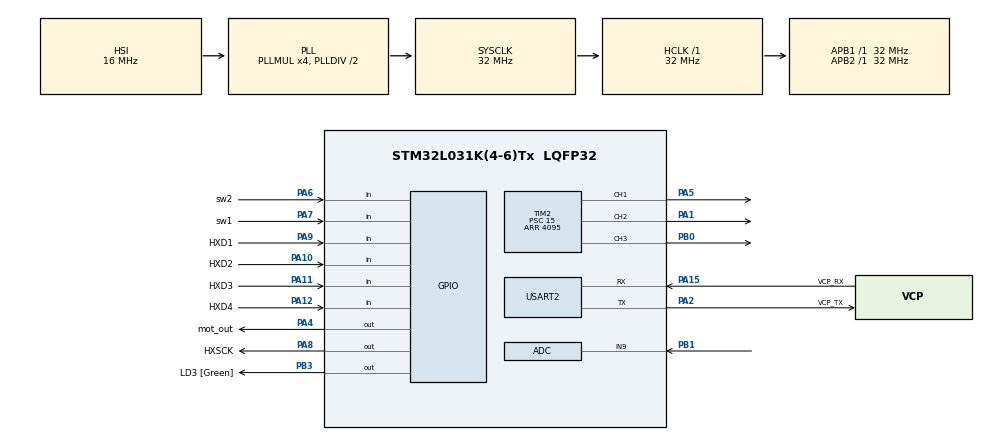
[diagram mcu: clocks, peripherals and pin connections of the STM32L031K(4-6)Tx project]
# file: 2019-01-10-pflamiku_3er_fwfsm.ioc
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ADC.ClockPrescaler=ADC_CLOCK_SYNC_PCLK_DIV2
ADC.ContinuousConvMode=DISABLE
ADC.DMAContinuousRequests=DISABLE
ADC.DataAlign=ADC_DATAALIGN_RIGHT
ADC.DiscontinuousConvMode=DISABLE
ADC.EOCSelection=ADC_EOC_SINGLE_CONV
ADC.EnableAnalogWatchDog=false
ADC.ExternalTrigConv=ADC_SOFTWARE_START
ADC.ExternalTrigConvEdge=ADC_EXTERNALTRIGCONVEDGE_NONE
ADC.LowPowerAutoPowerOff=DISABLE
ADC.LowPowerAutoWait=DISABLE
ADC.LowPowerFrequencyMode=DISABLE
ADC.Overrun=ADC_OVR_DATA_PRESERVED
ADC.OversamplingMode=DISABLE
ADC.Resolution=ADC_RESOLUTION_12B
ADC.SamplingTime=ADC_SAMPLETIME_1CYCLE_5
ADC.ScanConvMode=ADC_SCAN_DIRECTION_FORWARD
Dma.ADC.0.Direction=DMA_PERIPH_TO_MEMORY
Dma.ADC.0.Instance=DMA1_Channel1
Dma.ADC.0.MemDataAlignment=DMA_MDATAALIGN_WORD
Dma.ADC.0.MemInc=DMA_MINC_ENABLE
Dma.ADC.0.Mode=DMA_CIRCULAR
Dma.ADC.0.PeriphDataAlignment=DMA_PDATAALIGN_WORD
Dma.ADC.0.PeriphInc=DMA_PINC_DISABLE
Dma.ADC.0.Priority=DMA_PRIORITY_LOW
Dma.Request0=ADC
IWDG.Prescaler=IWDG_PRESCALER_256
IWDG.Window=4095
LPTIM1.ClockPrescaler=LPTIM_PRESCALER_DIV128
Mcu.Family=STM32L0
Mcu.Name=STM32L031K(4-6)Tx
Mcu.Package=LQFP32
NVIC.DMA1_Channel1_IRQn=true\:0\:0\:false\:false\:true\:false
NVIC.LPTIM1_IRQn=true\:1\:0\:true\:false\:true\:true
NVIC.TIM21_IRQn=true\:0\:0\:false\:false\:true\:true
PA1.Signal=S_TIM2_CH2
PA10.GPIO_Label=HXD2
PA10.Signal=GPIO_Input
PA11.GPIO_Label=HXD3
PA11.Signal=GPIO_Input
PA12.GPIO_Label=HXD4
PA12.Signal=GPIO_Input
PA13.GPIO_Label=TMS
PA13.Mode=Serial_Wire
PA13.Signal=SYS_SWDIO
PA14.GPIO_Label=TCK
PA14.Mode=Serial_Wire
PA14.Signal=SYS_SWCLK
PA15.GPIO_Label=VCP_RX
PA15.Mode=Asynchronous
PA15.Signal=USART2_RX
PA2.GPIO_Label=VCP_TX
PA2.Mode=Asynchronous
PA2.Signal=USART2_TX
PA4.GPIO_Label=mot_out
PA4.GPIO_Speed=GPIO_SPEED_FREQ_MEDIUM
PA4.Signal=GPIO_Output
PA5.Signal=S_TIM2_CH1
PA6.GPIO_Label=sw2
PA6.Signal=GPIO_Input
PA7.GPIO_Label=sw1
PA7.Signal=GPIO_Input
PA8.GPIO_Label=HXSCK
PA8.GPIO_Speed=GPIO_SPEED_FREQ_MEDIUM
PA8.Signal=GPIO_Output
PA9.GPIO_Label=HXD1
PA9.Signal=GPIO_Input
PB0.Signal=S_TIM2_CH3
PB1.Mode=IN9
PB1.Signal=ADC_IN9
PB3.GPIO_Label=LD3 [Green]
PB3.Signal=GPIO_Output
ProjectManager.HeapSize=0x200
ProjectManager.StackSize=0x400
ProjectManager.TargetToolchain=SW4STM32
RCC.AHBFreq_Value=32000000
RCC.APB1Freq_Value=32000000
RCC.APB1TimFreq_Value=32000000
RCC.APB2Freq_Value=32000000
RCC.APB2TimFreq_Value=32000000
RCC.HCLKFreq_Value=32000000
RCC.HSE_VALUE=8000000
RCC.HSI16_VALUE=16000000
RCC.HSI48_VALUE=48000000
RCC.HSI_VALUE=16000000
RCC.I2c1ClockSelection=RCC_I2C1CLKSOURCE_HSI
RCC.LSE_VALUE=32768
RCC.LptimClockSelection=RCC_LPTIM1CLKSOURCE_LSI
RCC.MSI_VALUE=2097000
RCC.PLLMUL=RCC_PLLMUL_4
RCC.SYSCLKFreq_VALUE=32000000
RCC.SYSCLKSource=RCC_SYSCLKSOURCE_PLLCLK
RCC.VCOOutputFreq_Value=64000000
SH.S_TIM2_CH1.0=TIM2_CH1,PWM Generation1 CH1
SH.S_TIM2_CH2.0=TIM2_CH2,PWM Generation2 CH2
SH.S_TIM2_CH3.0=TIM2_CH3,PWM Generation3 CH3
TIM2.Channel-PWM\ Generation1\ CH1=TIM_CHANNEL_1
TIM2.Channel-PWM\ Generation2\ CH2=TIM_CHANNEL_2
TIM2.Channel-PWM\ Generation3\ CH3=TIM_CHANNEL_3
TIM2.CounterMode=TIM_COUNTERMODE_DOWN
TIM2.OCPolarity_1=TIM_OCPOLARITY_HIGH
TIM2.OCPolarity_2=TIM_OCPOLARITY_HIGH
TIM2.OCPolarity_3=TIM_OCPOLARITY_HIGH
TIM2.Period=4095
TIM2.Prescaler=15
TIM2.Pulse-PWM\ Generation1\ CH1=1
TIM2.Pulse-PWM\ Generation2\ CH2=2
TIM2.Pulse-PWM\ Generation3\ CH3=3
TIM21.Period=6
TIM21.Prescaler=32
USART2.VirtualMode-Asynchronous=VM_ASYNC
VP_IWDG_VS_IWDG.Mode=IWDG_Activate
VP_LPTIM1_VS_LPTIM_counterModeInternalClock.Mode=Counts__internal_clock_event_00
VP_RTC_VS_RTC_Activate.Mode=RTC_Enabled
VP_RTC_VS_RTC_Calendar.Mode=RTC_Calendar
VP_SYS_V_PVD_IN.Mode=Mode_PVD_Int
VP_TIM21_VS_ClockSourceINT.Mode=Internal
VP_TIM2_VS_ClockSourceINT.Mode=Internal
board=NUCLEO-L031K6

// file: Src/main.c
/* USER CODE BEGIN Header */
/**
 ******************************************************************************
 * @file           : main.c
 * @brief          : Main program body
 ******************************************************************************
 ** This notice applies to any and all portions of this file
 * that are not between comment pairs USER CODE BEGIN and
 * USER CODE END. Other portions of this file, whether
 * inserted by the user or by software development tools
 * are owned by their respective copyright owners.
 *
 * COPYRIGHT(c) 2019 STMicroelectronics
 *
 * Redistribution and use in source and binary forms, with or without modification,
 * are permitted provided that the following conditions are met:
 *   1. Redistributions of source code must retain the above copyright notice,
 *      this list of conditions and the following disclaimer.
 *   2. Redistributions in binary form must reproduce the above copyright notice,
 *      this list of conditions and the following disclaimer in the documentation
 *      and/or other materials provided with the distribution.
 *   3. Neither the name of STMicroelectronics nor the names of its contributors
 *      may be used to endorse or promote products derived from this software
 *      without specific prior written permission.
 *
 * THIS SOFTWARE IS PROVIDED BY THE COPYRIGHT HOLDERS AND CONTRIBUTORS "AS IS"
 * AND ANY EXPRESS OR IMPLIED WARRANTIES, INCLUDING, BUT NOT LIMITED TO, THE
 * IMPLIED WARRANTIES OF MERCHANTABILITY AND FITNESS FOR A PARTICULAR PURPOSE ARE
 * DISCLAIMED. IN NO EVENT SHALL THE COPYRIGHT HOLDER OR CONTRIBUTORS BE LIABLE
 * FOR ANY DIRECT, INDIRECT, INCIDENTAL, SPECIAL, EXEMPLARY, OR CONSEQUENTIAL
 * DAMAGES (INCLUDING, BUT NOT LIMITED TO, PROCUREMENT OF SUBSTITUTE GOODS OR
 * SERVICES; LOSS OF USE, DATA, OR PROFITS; OR BUSINESS INTERRUPTION) HOWEVER
 * CAUSED AND ON ANY THEORY OF LIABILITY, WHETHER IN CONTRACT, STRICT LIABILITY,
 * OR TORT (INCLUDING NEGLIGENCE OR OTHERWISE) ARISING IN ANY WAY OUT OF THE USE
 * OF THIS SOFTWARE, EVEN IF ADVISED OF THE POSSIBILITY OF SUCH DAMAGE.
 *
 ******************************************************************************
 */
/* USER CODE END Header */

#include "main.h"

/* USER CODE BEGIN Includes */
/**
 * AUTHORS: ACHIM MERATH
 * LICENSE: CC BY SA NC 4.0
 * Last change 2019-01-26
 *
 * Brief   This software is for measure 3 or 4 weight scales.
 * 			Depended on the min and max programmed weight of the plants
 * 			it starts a pump which is pumping water to the plant until it's
 * 			max weight value is reached.
 * 			The min and max values can be programmed very easy by one switch.
 * 			Put a plant with dry plant soil on the device. Put the switch in prog position.
 * 			The pump automatically begins to pump water to your plant.
 * 			If the  potting soil is wet enough put the switch in position run.
 * 			From now on the device waters your plant automatically between these two
 * 			programmed min and max values. Each time the weight goes under the minimum
 * 			the pump runs until the maximum or a timeout is reached.
 * 			The timeout value is that time doubled, that the device needed
 * 			while you programmed it. This is thought as a security feature.
 * 			In example if the water storage tank is empty
 *          Another feature is that the device is going in deep sleep mode if
 *          there is not enough ambient light. Normally in the night.
 *          That switch value can be programmed as well.
 * 			Therefore you've to wait for the according twilight condition.
 * 			Disconnect the power plug, put the switch in PROG mode, connect
 * 			the power plug again. Wait until the red LED blinks. Then put the switch
 * 			in normal run mode.
 * 			That's it.
 * 			Now the device doesn't start until it is brighter then the twilight value.
 * 			Another automatic feature is the brightness of the lED. It is adjusted automatically
 * 			in respect to the ambient light.
 *
 */

/*********************DEBUGGING***************************/
//#define test
//#define test_LDR
//#define test_HX712	// water below min
//#define test_HX712_w0min // water below min
//#define test_HX712_w1min // water above min
//#define test_HX712_w2max // water above max
//#define test_eeprom_write_firstTimeValues
//#define test_pump

/********************INCLUDES****************************/
#include "stdint.h"
#include <stdio.h>
#include <stdbool.h>
#include "fsmDefs.h"

/** MainFsm function definitions */
#include "MainFsm.h"

/** FW Profile function definitions */
#include "FwSmConstants.h"
#include "FwSmSCreate.h"
#include "FwSmConfig.h"
#include "FwSmCore.h"

#include "sc_types.h"
/* USER CODE END Includes */

/* USER CODE BEGIN PTD */
//typedef struct is in fsmDefs.h
FsmIFace iface;
FsmIFace* piface = &iface;
/* USER CODE END PTD */

ADC_HandleTypeDef hadc;
DMA_HandleTypeDef hdma_adc;

IWDG_HandleTypeDef hiwdg;

LPTIM_HandleTypeDef hlptim1;

RTC_HandleTypeDef hrtc;

TIM_HandleTypeDef htim2;
TIM_HandleTypeDef htim21;

UART_HandleTypeDef huart2;

/* USER CODE BEGIN PV */
/* Private variables ---------------------------------------------------------*/
/* NVM key definitions */

/*
 #define FLASH_PDKEY1               ((uint32_t)0x04152637) !< Flash power down key1
 #define FLASH_PDKEY2               ((uint32_t)0xFAFBFCFD) !< Flash power down key2: used with FLASH_PDKEY1 to unlock the RUN_PD bit in FLASH_ACR

 #define FLASH_PEKEY1               ((uint32_t)0x89ABCDEF) !< Flash program erase key1
 #define FLASH_PEKEY2               ((uint32_t)0x02030405) !< Flash program erase key: used with FLASH_PEKEY2
 to unlock the write access to the FLASH_PECR register and data EEPROM

 #define FLASH_PRGKEY1              ((uint32_t)0x8C9DAEBF) !< Flash program memory key1
 #define FLASH_PRGKEY2              ((uint32_t)0x13141516) !< Flash program memory key2: used with FLASH_PRGKEY2
 to unlock the program memory

 #define FLASH_OPTKEY1              ((uint32_t)0xFBEAD9C8) !< Flash option key1
 #define FLASH_OPTKEY2              ((uint32_t)0x24252627) !< Flash option key2: used with FLASH_OPTKEY1 to
 unlock the write access to the option byte block

 Time-out values
 #define HSI_TIMEOUT_VALUE          ((uint32_t)100)   100 ms
 #define PLL_TIMEOUT_VALUE          ((uint32_t)100)   100 ms
 #define CLOCKSWITCH_TIMEOUT_VALUE  ((uint32_t)5000)  5 s
 */

#define DATA_E2_ADDR   ((uint32_t)0x08080000)  /* Data EEPROM address */

/* Error codes used to make the red led blinking */
#define ERROR_ERASE 0x01
#define ERROR_PROG_BYTE  0x02
#define ERROR_PROG_16B_WORD 0x04
#define ERROR_PROG_32B_WORD 0x08
#define ERROR_WRITE_PROTECTION 0x10
#define ERROR_READOUT_PROTECTION 0x20
#define ERROR_FETCH_DURING_PROG 0x40
#define ERROR_SIZE 0x80
#define ERROR_ALIGNMENT 0x100
#define ERROR_NOT_ZERO 0x200
#define ERROR_OPTION_NOT_VALID 0x400
#define ERROR_UNKNOWN 0x800

#define ERROR_HSI_TIMEOUT 0x55
#define ERROR_PLL_TIMEOUT 0xAA
#define ERROR_CLKSWITCH_TIMEOUT 0xBB

volatile uint16_t error = 0;

/* Private variables -----------------------------------------------FSM----*/
//special for testing
#if defined test
uint32_t TEST_LDR_VALUE = 200;
uint32_t TEST_LDR_SWITCH = 400;

uint32_t TEST_MITTELWERT = 8001271;
#endif

volatile int progMode = 0, *pprogMode = &progMode;
volatile uint32_t millis; //,*pmillis=&millis; used for pump timeout
volatile uint32_t blink_millis; // used for blinking while pump on

/* Private variables ---------------------------------------------HX712 + DIV------*/

//uint32_t HX_cnt; //, hx1, hx2, hx3, hx4;
uint32_t buffer_hx[25]; // used in IRQ routine to get measurement values from the HX711 / HX712
volatile uint32_t HXSCK_state = 1, *pHXSCK_state = &HXSCK_state; // used in IRQ routine to set the state
volatile uint32_t hxerrors[] = { 0, 0, 0, 0 }; // used in IRQ routine to indicate errors
volatile uint32_t HX_cnt = 0, *pHX_cnt = &HX_cnt; // used in IRQ routine to get measurement values from the HX711 / HX712
volatile uint32_t hx, hx1, hx2, hx3, hx4, *phx = &hx, *phx1 = &hx1,
		*phx2 = &hx2, *phx3 = &hx3, *phx4 = &hx4; // used in IRQ routine to get measurement values from the HX711 / HX712
volatile uint32_t Messwert_long_time_average = 0, *pMesswert_long_time_average =
		&Messwert_long_time_average; // the measurement average value
volatile int weightkg=0;
const int weightzero=8563970;

//start values that are programmed into the eeprom at first run
uint32_t hxmax = 12000000;
uint32_t hxmin = 8001271; //8000000;
uint32_t ldrmin=100;
uint32_t ldrmax=2900;
uint32_t ldrsw=1300;

//LDR Value
uint32_t adc[4], adc_buf[2], temperature, vrefint;  // define variables
volatile uint32_t g_ADCValue = 0;

//led color
volatile int ar = 0;
volatile int ag = 0;
volatile int ab = 0;
volatile float hue_angel = 360;
/*has Max Luminosity (RGB): (1000, 1300, 800)mcd
 so we normalize them all to 800 mcd -
 R  800/1000  =  0.8  =   204/255					52428/65535 3276/4095
 G  800/1300  =  0.61538   =    157/255           	40329/65535 2520/4095
 B  800/800  =  1.0                 =   255/255
 // for all three RGB values
 analogWrite(PIN, rgb[k] * bright[k]/255);
 */
//long bright[3] = {
//		3576, 3020, 4095
//};
uint32_t bright[3] = { 3076, 2520, 4095 };  // this are the default values
uint32_t bright_ad[3] = { 3076, 2520, 4095 }; // this are the calculated values according to ambient light see LDR_Value()

/* USER CODE END PV */

void SystemClock_Config(void);
static void MX_GPIO_Init(void);
static void MX_DMA_Init(void);
static void MX_ADC_Init(void);
static void MX_IWDG_Init(void);
static void MX_TIM2_Init(void);
static void MX_RTC_Init(void);
static void MX_USART2_UART_Init(void);
static void MX_TIM21_Init(void);
static void MX_LPTIM1_Init(void);
/* USER CODE BEGIN PFP */
/* Private function prototypes -----------------------------------------------*/
// type def for FSM vars
void fsm_init(FsmIFace* iface);

void TEST_if_first_start_then_eeprom_set_values(void); //setings like min max weight and ldr min max and light switch value

uint32_t shift_test_switch_is_ON(void);// test switch 1 with a software debounce
void test_if_switch_is_on(void);// test switch 1 with a software debounce

//hx712 measurement
void HX712_start(void);
void HX712_stop(void);
void HX712_run(void);

// pump run
void pumpOFF(void);
void afterPOff_newMw(void);
void pumpON(void);
void sleepMode(void);
void progLdrSwitchValue(void);

// ldr measurement
void RUN_prog_ldr(void);
void LDR_Value(void);

//LED settings with RGB and PWM
void LED_RGB_Set(float HSV_value);

// this  function is for mapping a value from one area to another
// int map(int x, int in_min, int in_max, int out_min, int out_max);
uint32_t map2(uint32_t x, uint32_t in_min, uint32_t in_max, uint32_t out_min,
		uint32_t out_max);

// Eeprom functions
void Save_2_Eeprom(void);
void Read_from_Eeprom(void);

void UnlockPELOCK(void);
void LockNVM(void);
void EepromErase(uint32_t addr);
/* USER CODE END PFP */

int main(void) {

	/* MCU Configuration--------------------------------------------------------*/

	/* Reset of all peripherals, Initializes the Flash interface and the Systick. */
	HAL_Init();

	/* Configure the system clock */
	SystemClock_Config();

	/* Initialize all configured peripherals */
	MX_GPIO_Init();
	MX_DMA_Init();
	MX_ADC_Init();
	MX_IWDG_Init();
	MX_TIM2_Init();
	MX_RTC_Init();
	MX_USART2_UART_Init();
	MX_TIM21_Init();
	MX_LPTIM1_Init();
	/* USER CODE BEGIN 2 */

	// TIM2 is used for RGB LED
	HAL_TIM_Base_Start(&htim2); //Starts the TIM Base generation
	if (HAL_TIM_PWM_Start(&htim2, TIM_CHANNEL_1) != HAL_OK) //Starts the PWM signal generation
			{
		/* PWM Generation Error */
		Error_Handler();
	}

	/* Start channel 2 */
	if (HAL_TIM_PWM_Start(&htim2, TIM_CHANNEL_2) != HAL_OK) {
		/* PWM Generation Error */
		Error_Handler();
	}
	if (HAL_TIM_PWM_Start(&htim2, TIM_CHANNEL_3) != HAL_OK) {
		/* PWM Generation Error */
		Error_Handler();
	}

	//fsm_init(FsmIFace* iface) init the vars of the finite state machine
	fsm_init(&iface);

	//look if switch is in progMode
	piface->sw1_value = shift_test_switch_is_ON();

	// read all volues from eeprom and put them in place
	//THIS is now in fsm_init()
	// FsmIFace iface; all vars of the finite state machine go here
	// piface->eepromMin piface->eepromMax piface->eepromPmax
	Read_from_Eeprom();
	//read the weightscales piface->hx and piface->mittelwert
	HX712_run();
	//test if weight is above the absolute maximum
	if(piface->mittelwert>piface->eepromAbsMax){
		Error_Handler();
	}
	//read the LDR Value piface->ldr_value ...
	LDR_Value();

	//this is called to preinit the microcontroller only at first start up
	TEST_if_first_start_then_eeprom_set_values();

	/*------------------------------------------fsm init & start-------------------------------------*/
	/** Define the state machine descriptor (SMD) */
	FwSmDesc_t smDesc = MainFsmCreate(NULL);

	/** Check that the SM is properly configured */
	if (FwSmCheckRec(smDesc) != smSuccess) {
		printf(
				"The state machine MainFsm is NOT properly configured ... FAILURE\n");
		//return EXIT_FAILURE;
	}

	printf("The state machine MainFsm is properly configured ... SUCCESS\n");
	/** Start the SM, send a few transition commands to it, and execute it */
	FwSmStart(smDesc);
	FwSmMakeTrans(smDesc, TCLK);
	/*-------------------------------------------------------------------------------------------------*/
	/* USER CODE END 2 */

	/* Infinite loop */
	/* USER CODE BEGIN WHILE */

	while (1) {
		__HAL_IWDG_RELOAD_COUNTER(&hiwdg);
		FwSmMakeTrans(smDesc, TCLK);
		// this is needed to jump out of substates
		if (piface->run_mode == 3) {
			FwSmMakeTrans(smDesc, TCLK);
			FwSmMakeTrans(smDesc, TCLAK);
			piface->run_mode = 1;
		}

		test_if_switch_is_on();

		/* USER CODE END WHILE */

		/* USER CODE BEGIN 3 */
		//TODO power reduction
	}
	/* USER CODE END 3 */
}

void SystemClock_Config(void) {
	RCC_OscInitTypeDef RCC_OscInitStruct = { 0 };
	RCC_ClkInitTypeDef RCC_ClkInitStruct = { 0 };
	RCC_PeriphCLKInitTypeDef PeriphClkInit = { 0 };

	/**Configure the main internal regulator output voltage
	 */
	__HAL_PWR_VOLTAGESCALING_CONFIG(PWR_REGULATOR_VOLTAGE_SCALE1);
	/**Initializes the CPU, AHB and APB busses clocks
	 */
	RCC_OscInitStruct.OscillatorType = RCC_OSCILLATORTYPE_HSI
			| RCC_OSCILLATORTYPE_LSI;
	RCC_OscInitStruct.HSIState = RCC_HSI_ON;
	RCC_OscInitStruct.HSICalibrationValue = RCC_HSICALIBRATION_DEFAULT;
	RCC_OscInitStruct.LSIState = RCC_LSI_ON;
	RCC_OscInitStruct.PLL.PLLState = RCC_PLL_ON;
	RCC_OscInitStruct.PLL.PLLSource = RCC_PLLSOURCE_HSI;
	RCC_OscInitStruct.PLL.PLLMUL = RCC_PLLMUL_4;
	RCC_OscInitStruct.PLL.PLLDIV = RCC_PLLDIV_2;
	if (HAL_RCC_OscConfig(&RCC_OscInitStruct) != HAL_OK) {
		Error_Handler();
	}
	/**Initializes the CPU, AHB and APB busses clocks
	 */
	RCC_ClkInitStruct.ClockType = RCC_CLOCKTYPE_HCLK | RCC_CLOCKTYPE_SYSCLK
			| RCC_CLOCKTYPE_PCLK1 | RCC_CLOCKTYPE_PCLK2;
	RCC_ClkInitStruct.SYSCLKSource = RCC_SYSCLKSOURCE_PLLCLK;
	RCC_ClkInitStruct.AHBCLKDivider = RCC_SYSCLK_DIV1;
	RCC_ClkInitStruct.APB1CLKDivider = RCC_HCLK_DIV1;
	RCC_ClkInitStruct.APB2CLKDivider = RCC_HCLK_DIV1;

	if (HAL_RCC_ClockConfig(&RCC_ClkInitStruct, FLASH_LATENCY_1) != HAL_OK) {
		Error_Handler();
	}
	PeriphClkInit.PeriphClockSelection = RCC_PERIPHCLK_USART2
			| RCC_PERIPHCLK_RTC | RCC_PERIPHCLK_LPTIM1;
	PeriphClkInit.Usart2ClockSelection = RCC_USART2CLKSOURCE_PCLK1;
	PeriphClkInit.RTCClockSelection = RCC_RTCCLKSOURCE_LSI;
	PeriphClkInit.LptimClockSelection = RCC_LPTIM1CLKSOURCE_LSI;

	if (HAL_RCCEx_PeriphCLKConfig(&PeriphClkInit) != HAL_OK) {
		Error_Handler();
	}
}

static void MX_ADC_Init(void) {

	ADC_ChannelConfTypeDef sConfig = { 0 };

	/**Configure the global features of the ADC (Clock, Resolution, Data Alignment and number of conversion)
	 */
	hadc.Instance = ADC1;
	hadc.Init.OversamplingMode = DISABLE;
	hadc.Init.ClockPrescaler = ADC_CLOCK_SYNC_PCLK_DIV2;
	hadc.Init.Resolution = ADC_RESOLUTION_12B;
	hadc.Init.SamplingTime = ADC_SAMPLETIME_1CYCLE_5;
	hadc.Init.ScanConvMode = ADC_SCAN_DIRECTION_FORWARD;
	hadc.Init.DataAlign = ADC_DATAALIGN_RIGHT;
	hadc.Init.ContinuousConvMode = DISABLE;
	hadc.Init.DiscontinuousConvMode = DISABLE;
	hadc.Init.ExternalTrigConvEdge = ADC_EXTERNALTRIGCONVEDGE_NONE;
	hadc.Init.ExternalTrigConv = ADC_SOFTWARE_START;
	hadc.Init.DMAContinuousRequests = DISABLE;
	hadc.Init.EOCSelection = ADC_EOC_SINGLE_CONV;
	hadc.Init.Overrun = ADC_OVR_DATA_PRESERVED;
	hadc.Init.LowPowerAutoWait = DISABLE;
	hadc.Init.LowPowerFrequencyMode = DISABLE;
	hadc.Init.LowPowerAutoPowerOff = DISABLE;
	if (HAL_ADC_Init(&hadc) != HAL_OK) {
		Error_Handler();
	}
	/**Configure for the selected ADC regular channel to be converted.
	 */
	sConfig.Channel = ADC_CHANNEL_9;
	sConfig.Rank = ADC_RANK_CHANNEL_NUMBER;
	if (HAL_ADC_ConfigChannel(&hadc, &sConfig) != HAL_OK) {
		Error_Handler();
	}

}

static void MX_IWDG_Init(void) {

	hiwdg.Instance = IWDG;
	hiwdg.Init.Prescaler = IWDG_PRESCALER_256;
	hiwdg.Init.Window = 4095;
	hiwdg.Init.Reload = 4095;
	if (HAL_IWDG_Init(&hiwdg) != HAL_OK) {
		Error_Handler();
	}

}

static void MX_LPTIM1_Init(void) {

	hlptim1.Instance = LPTIM1;
	hlptim1.Init.Clock.Source = LPTIM_CLOCKSOURCE_APBCLOCK_LPOSC;
	hlptim1.Init.Clock.Prescaler = LPTIM_PRESCALER_DIV128;
	hlptim1.Init.Trigger.Source = LPTIM_TRIGSOURCE_SOFTWARE;
	hlptim1.Init.OutputPolarity = LPTIM_OUTPUTPOLARITY_HIGH;
	hlptim1.Init.UpdateMode = LPTIM_UPDATE_IMMEDIATE;
	hlptim1.Init.CounterSource = LPTIM_COUNTERSOURCE_INTERNAL;
	if (HAL_LPTIM_Init(&hlptim1) != HAL_OK) {
		Error_Handler();
	}

}

static void MX_RTC_Init(void) {

	RTC_TimeTypeDef sTime = { 0 };
	RTC_DateTypeDef sDate = { 0 };

	/**Initialize RTC Only
	 */
	hrtc.Instance = RTC;
	hrtc.Init.HourFormat = RTC_HOURFORMAT_24;
	hrtc.Init.AsynchPrediv = 127;
	hrtc.Init.SynchPrediv = 255;
	hrtc.Init.OutPut = RTC_OUTPUT_DISABLE;
	hrtc.Init.OutPutRemap = RTC_OUTPUT_REMAP_NONE;
	hrtc.Init.OutPutPolarity = RTC_OUTPUT_POLARITY_HIGH;
	hrtc.Init.OutPutType = RTC_OUTPUT_TYPE_OPENDRAIN;
	if (HAL_RTC_Init(&hrtc) != HAL_OK) {
		Error_Handler();
	}

	/**Initialize RTC and set the Time and Date
	 */
	sTime.Hours = 0x0;
	sTime.Minutes = 0x0;
	sTime.Seconds = 0x0;
	sTime.DayLightSaving = RTC_DAYLIGHTSAVING_NONE;
	sTime.StoreOperation = RTC_STOREOPERATION_RESET;
	if (HAL_RTC_SetTime(&hrtc, &sTime, RTC_FORMAT_BCD) != HAL_OK) {
		Error_Handler();
	}
	sDate.WeekDay = RTC_WEEKDAY_MONDAY;
	sDate.Month = RTC_MONTH_JANUARY;
	sDate.Date = 0x1;
	sDate.Year = 0x0;

	if (HAL_RTC_SetDate(&hrtc, &sDate, RTC_FORMAT_BCD) != HAL_OK) {
		Error_Handler();
	}

}

static void MX_TIM2_Init(void) {

	TIM_ClockConfigTypeDef sClockSourceConfig = { 0 };
	TIM_MasterConfigTypeDef sMasterConfig = { 0 };
	TIM_OC_InitTypeDef sConfigOC = { 0 };

	htim2.Instance = TIM2;
	htim2.Init.Prescaler = 15;
	htim2.Init.CounterMode = TIM_COUNTERMODE_DOWN;
	htim2.Init.Period = 4095;
	htim2.Init.ClockDivision = TIM_CLOCKDIVISION_DIV1;
	htim2.Init.AutoReloadPreload = TIM_AUTORELOAD_PRELOAD_DISABLE;
	if (HAL_TIM_Base_Init(&htim2) != HAL_OK) {
		Error_Handler();
	}
	sClockSourceConfig.ClockSource = TIM_CLOCKSOURCE_INTERNAL;
	if (HAL_TIM_ConfigClockSource(&htim2, &sClockSourceConfig) != HAL_OK) {
		Error_Handler();
	}
	if (HAL_TIM_PWM_Init(&htim2) != HAL_OK) {
		Error_Handler();
	}
	sMasterConfig.MasterOutputTrigger = TIM_TRGO_RESET;
	sMasterConfig.MasterSlaveMode = TIM_MASTERSLAVEMODE_DISABLE;
	if (HAL_TIMEx_MasterConfigSynchronization(&htim2, &sMasterConfig)
			!= HAL_OK) {
		Error_Handler();
	}
	sConfigOC.OCMode = TIM_OCMODE_PWM1;
	sConfigOC.Pulse = 1;
	sConfigOC.OCPolarity = TIM_OCPOLARITY_HIGH;
	sConfigOC.OCFastMode = TIM_OCFAST_DISABLE;
	if (HAL_TIM_PWM_ConfigChannel(&htim2, &sConfigOC, TIM_CHANNEL_1)
			!= HAL_OK) {
		Error_Handler();
	}
	sConfigOC.Pulse = 2;
	if (HAL_TIM_PWM_ConfigChannel(&htim2, &sConfigOC, TIM_CHANNEL_2)
			!= HAL_OK) {
		Error_Handler();
	}
	sConfigOC.Pulse = 3;
	if (HAL_TIM_PWM_ConfigChannel(&htim2, &sConfigOC, TIM_CHANNEL_3)
			!= HAL_OK) {
		Error_Handler();
	}
	HAL_TIM_MspPostInit(&htim2);

}

static void MX_TIM21_Init(void) {

	TIM_ClockConfigTypeDef sClockSourceConfig = { 0 };
	TIM_MasterConfigTypeDef sMasterConfig = { 0 };

	htim21.Instance = TIM21;
	htim21.Init.Prescaler = 32;
	htim21.Init.CounterMode = TIM_COUNTERMODE_UP;
	htim21.Init.Period = 6;
	htim21.Init.ClockDivision = TIM_CLOCKDIVISION_DIV1;
	htim21.Init.AutoReloadPreload = TIM_AUTORELOAD_PRELOAD_DISABLE;
	if (HAL_TIM_Base_Init(&htim21) != HAL_OK) {
		Error_Handler();
	}
	sClockSourceConfig.ClockSource = TIM_CLOCKSOURCE_INTERNAL;
	if (HAL_TIM_ConfigClockSource(&htim21, &sClockSourceConfig) != HAL_OK) {
		Error_Handler();
	}
	sMasterConfig.MasterOutputTrigger = TIM_TRGO_RESET;
	sMasterConfig.MasterSlaveMode = TIM_MASTERSLAVEMODE_DISABLE;
	if (HAL_TIMEx_MasterConfigSynchronization(&htim21, &sMasterConfig)
			!= HAL_OK) {
		Error_Handler();
	}

}

static void MX_USART2_UART_Init(void) {

	huart2.Instance = USART2;
	huart2.Init.BaudRate = 115200;
	huart2.Init.WordLength = UART_WORDLENGTH_8B;
	huart2.Init.StopBits = UART_STOPBITS_1;
	huart2.Init.Parity = UART_PARITY_NONE;
	huart2.Init.Mode = UART_MODE_TX_RX;
	huart2.Init.HwFlowCtl = UART_HWCONTROL_NONE;
	huart2.Init.OverSampling = UART_OVERSAMPLING_16;
	huart2.Init.OneBitSampling = UART_ONE_BIT_SAMPLE_DISABLE;
	huart2.AdvancedInit.AdvFeatureInit = UART_ADVFEATURE_NO_INIT;
	if (HAL_UART_Init(&huart2) != HAL_OK) {
		Error_Handler();
	}

}

static void MX_DMA_Init(void) {
	/* DMA controller clock enable */
	__HAL_RCC_DMA1_CLK_ENABLE()
	;

	/* DMA interrupt init */
	/* DMA1_Channel1_IRQn interrupt configuration */
	HAL_NVIC_SetPriority(DMA1_Channel1_IRQn, 0, 0);
	HAL_NVIC_EnableIRQ(DMA1_Channel1_IRQn);

}

static void MX_GPIO_Init(void) {
	GPIO_InitTypeDef GPIO_InitStruct = { 0 };

	/* GPIO Ports Clock Enable */
	__HAL_RCC_GPIOA_CLK_ENABLE()
	;
	__HAL_RCC_GPIOB_CLK_ENABLE()
	;

	/*Configure GPIO pin Output Level */
	HAL_GPIO_WritePin(GPIOA, mot_out_Pin | HXSCK_Pin, GPIO_PIN_RESET);

	/*Configure GPIO pin Output Level */
	HAL_GPIO_WritePin(LD3_GPIO_Port, LD3_Pin, GPIO_PIN_RESET);

	/*Configure GPIO pins : mot_out_Pin HXSCK_Pin */
	GPIO_InitStruct.Pin = mot_out_Pin | HXSCK_Pin;
	GPIO_InitStruct.Mode = GPIO_MODE_OUTPUT_PP;
	GPIO_InitStruct.Pull = GPIO_NOPULL;
	GPIO_InitStruct.Speed = GPIO_SPEED_FREQ_MEDIUM;
	HAL_GPIO_Init(GPIOA, &GPIO_InitStruct);

	/*Configure GPIO pins : sw2_Pin sw1_Pin HXD1_Pin HXD2_Pin
	 HXD3_Pin HXD4_Pin */
	GPIO_InitStruct.Pin = sw2_Pin | sw1_Pin | HXD1_Pin | HXD2_Pin | HXD3_Pin
			| HXD4_Pin;
	GPIO_InitStruct.Mode = GPIO_MODE_INPUT;
	GPIO_InitStruct.Pull = GPIO_NOPULL;
	HAL_GPIO_Init(GPIOA, &GPIO_InitStruct);

	/*Configure GPIO pin : LD3_Pin */
	GPIO_InitStruct.Pin = LD3_Pin;
	GPIO_InitStruct.Mode = GPIO_MODE_OUTPUT_PP;
	GPIO_InitStruct.Pull = GPIO_NOPULL;
	GPIO_InitStruct.Speed = GPIO_SPEED_FREQ_LOW;
	HAL_GPIO_Init(LD3_GPIO_Port, &GPIO_InitStruct);

}

/* USER CODE BEGIN 4 */
// Data exchange between main and fsm
void fsm_init(FsmIFace* iface) {

	//FSM intern switch case vars
	iface->started = 0; // is used at startup for no led until S_START is reached
	iface->prog_mode = 0;//indicates programming mode
	iface->bPumpOn = 0; //indicates if Pump is running
	iface->lowPower = 0;// LDR gives high values if its dark, so if switchlevel is reached this var is set
	iface->sw1_value = 0;//indicates is SW1 is on or off

	//eeprom values
	iface->eepromAbsMax = 12000000;//is the absolute maximum weight
	iface->eepromMin = *(uint32_t *) (DATA_E2_ADDR);
	iface->eepromMax = *(uint32_t *) (DATA_E2_ADDR + 4);
	iface->eepromPmax = *(uint32_t *) (DATA_E2_ADDR + 8);

	//measurement values HX712
	iface->mittelwert = 0;//average weight
	iface->hx = 0;//one measurement value of weight

	//timers for the fsm
	iface->timeOut = 0;

	iface->startTimLDR = 60000;//is set to a high value so it has to start at the beginning
	iface->timeLDR = 60000;//time between two LDR measurements
	iface->startTimHx = 0;
	iface->timeHx = 10000;//time between two HX712 measurements

	//LDR
	iface->ldr_min = *(uint32_t *) (DATA_E2_ADDR + 20);
	iface->ldr_max = *(uint32_t *) (DATA_E2_ADDR + 24);
	iface->ldr_switch = *(uint32_t *) (DATA_E2_ADDR + 28);// saved switchlevel LDR

	iface->run_mode = 0;

}

/**
 * Brief   This function runs only once if there is no data in the eeprom .
 *
 * Param   None
 * Retval  None
 */
void TEST_if_first_start_then_eeprom_set_values(void) {
	if ((*(uint32_t *) (DATA_E2_ADDR + 4) == 0)
			|| (*(uint32_t *) (DATA_E2_ADDR + 4)
					== *(uint32_t *) (DATA_E2_ADDR + 16))) {
		// values to write in the eeprom at very first start up min 8200000 max 12000000 ca 11kg
		piface->eepromMin = hxmin;
		piface->eepromMax = hxmax;
		piface->ldr_min = ldrmin;
		piface->ldr_max = ldrmax;
		piface->ldr_switch = ldrsw;
		Save_2_Eeprom();
		RUN_prog_ldr();
	}
#if defined test_eeprom_write_firstTimeValues
	eeprom_value_min = hxmin;
	eeprom_value_max = hxmax;
	Save_2_Eeprom();
	RUN_prog_ldr();
#endif
}

/**
 * Brief   This function debounces SW1 .
 *
 * Param   None
 * Retval  uint32_t
 */
uint32_t shift_test_switch_is_ON(void) {
	volatile uint32_t sw_stable;
	volatile uint32_t tout;
	volatile uint8_t p1;

	sw_stable = 0;
	tout = 0;
	do {
		for (int i = 0; i < 32; i++) {
			p1 = 10;
			if ((sw1_GPIO_Port->IDR & sw1_Pin) != (uint32_t) GPIO_PIN_RESET) {
				p1 = GPIO_PIN_SET;
			} else {
				p1 = GPIO_PIN_RESET;
			}
			HAL_Delay(1);
			sw_stable = (sw_stable << 1) + p1;
		}
		tout++;
	} while ((sw_stable < 0xffffffff && sw_stable > 0) || tout >= 3);
	if (sw_stable == 0xffffffff) {
		p1 = 1;
	} else {
		p1 = 0;
	}
	return p1;
}

/**
 * Brief   This function tests the SW1 if Progmode.
 *
 * Param   None
 * Retval  None
 */
void test_if_switch_is_on(void) {

	uint32_t progMode_ticker;
	progMode_ticker = shift_test_switch_is_ON();
	if (progMode_ticker == 1) {
		if (HAL_GPIO_ReadPin(sw1_GPIO_Port, sw1_Pin) == 1 && *pprogMode == 0) {

			progMode_ticker = HAL_GetTick();
			do {
				//debounce 50ms
			} while ((HAL_GetTick() - progMode_ticker) < 50);
			if (HAL_GPIO_ReadPin(sw1_GPIO_Port, sw1_Pin) == 1
					&& *pprogMode == 0) {
				//RUN_progmode
				*pprogMode = 1;

			}
		}
	} else {
		if (HAL_GPIO_ReadPin(sw1_GPIO_Port, sw1_Pin) == 0 && *pprogMode == 1) {
			progMode_ticker = HAL_GetTick();
			do {
				//debounce 50ms
			} while ((HAL_GetTick() - progMode_ticker) < 50);
			if (HAL_GPIO_ReadPin(sw1_GPIO_Port, sw1_Pin) == 0
					&& *pprogMode == 1) {
				//STOP_progmode
				*pprogMode = 0;

			}
		}
	}
}

/**
 * Brief   This function starts the HX711. This chip was in sleepmode with a few uA.
 *
 * Param   None
 * Retval  None
 */
void HX712_start(void) {
	HAL_GPIO_WritePin(HXSCK_GPIO_Port, HXSCK_Pin, GPIO_PIN_SET);
	HAL_Delay(1);
	HAL_GPIO_WritePin(HXSCK_GPIO_Port, HXSCK_Pin, GPIO_PIN_RESET);
	HAL_Delay(600);

}

/**
 * Brief   This function stops the HX711. This chip enters after 50us the sleepmode with a few uA.
 *
 * Param   None
 * Retval  None
 */
void HX712_stop(void) {
	HAL_GPIO_WritePin(HXSCK_GPIO_Port, HXSCK_Pin, GPIO_PIN_SET);
}

/**
 * Brief   This function is for getting the measured data from the HX711 / HX712 serial interface - weight cells .
 * 			this needs 24 pulses to get 24bit Data and 1 pulse to set the right GAIN of the Chips next measurement
 * 			to run this measurement we must first call the HX_start() ..
 * 			in the TIM21_IRQHandler we do the pulsing and read the hole port 25 times in a buffer. so therefore HXD1-HXD3/4
 * 			must be on the same Portgroupe i.e. GPIOA.
 * 			after the serial read out we calculate by bitoperation the real result of all three or four weight cells.
 *
 * Param   None
 * Retval  None
 */
void HX712_run(void) {
	HX712_start();
	uint16_t bm = HXD1_Pin + HXD2_Pin + HXD3_Pin + HXD4_Pin;
	uint16_t g;	// = HXD1_GPIO_Port->IDR;
	int d;	// = g & bm;
	//set vars to zero
	*pHX_cnt = 0;
	*phx1 = 0;
	*phx2 = 0;
	*phx3 = 0;
	*phx4 = 0;
	*pHXSCK_state = 0;
	// iwdg reset
	IWDG->KR = IWDG_KEY_RELOAD;
	// run the measurement
	int t;
	do {
		do {
			IWDG->KR = IWDG_KEY_RELOAD;
			g = HXD1_GPIO_Port->IDR;
			d = g & bm;
		} while (d > 0);

		HAL_TIM_Base_Start_IT(&htim21);
		while (*pHX_cnt < 52) {

		}
		//HAL_GPIO_WritePin(HXSCK_GPIO_Port, HXSCK_Pin, GPIO_PIN_RESET);
		//*pHXSCK_state = 0;
		hx1 = 0;
		hx2 = 0;
		hx3 = 0;
		IWDG->KR = IWDG_KEY_RELOAD;
		//hx4 = 0;
		// bitbanging for results
		for (int i = 0; i < 24; i++) {
			hx1 = hx1 << 1;
			hx2 = hx2 << 1;
			hx3 = hx3 << 1;
			//hx4 = hx4 << 1;

			if (buffer_hx[i] & HXD1_Pin) {
				hx1++;
			}
			if (buffer_hx[i] & HXD2_Pin) {
				hx2++;
			}
			if (buffer_hx[i] & HXD3_Pin) {
				hx3++;
			}
//		if (buffer_hx[i] & HXD4_Pin) {
//			hx4++;
//		}
		}
		*phx1 = *phx1 ^ 0x800000;
		*phx2 = *phx2 ^ 0x800000;
		*phx3 = *phx3 ^ 0x800000;
		//*phx4 = *phx4 ^ 0x800000;

		//error analyser
		t = 3;
		if (*phx1 > hxmax) {
			t--;
			*phx1 = 0;
			hxerrors[0]++;
		} else if (*phx2 > hxmax) {
			t--;
			*phx2 = 0;
			hxerrors[1]++;
		} else if (*phx3 > hxmax) {
			t--;
			*phx3 = 0;
			hxerrors[2]++;

		}
		hxerrors[3]++;
	} while (t < 3); // so we can be shure all 3 or 4 HX712 are ok

	// long time average calculation
	*phx = (*phx1 + *phx2 + *phx3) / t;

	if (*pMesswert_long_time_average == 0) {
		*pMesswert_long_time_average = *phx;
	}

	*pMesswert_long_time_average = (*pMesswert_long_time_average * 31 + *phx)
			/ 32;
	piface->mittelwert = *pMesswert_long_time_average;
	piface->hx = *phx;

	HX712_stop();

	//do the calibration at startup - very first time
//	if(*(uint32_t *) (DATA_E2_ADDR + 12)==0){
//		//weightzero=8563970;
//		float weight= (float)*phx-(float)weightzero;
//		weightkg=(int)(weight/125.51);
//	}
}
void reducePwr(void){
	__HAL_PWR_VOLTAGESCALING_CONFIG(PWR_REGULATOR_VOLTAGE_SCALE2);
}
void fullPwr(void){
	__HAL_PWR_VOLTAGESCALING_CONFIG(PWR_REGULATOR_VOLTAGE_SCALE1);
}
void pumpOFF(void) {
	*pMesswert_long_time_average =  *phx;
			piface->hx = *phx;
			piface->mittelwert = *phx;
	HAL_GPIO_WritePin(mot_out_GPIO_Port, mot_out_Pin, GPIO_PIN_RESET);
}
void afterPOff_newMw(void){
	*pMesswert_long_time_average =  *phx;
		piface->hx = *phx;
		piface->mittelwert = *phx;
}
void pumpON(void) {
	HAL_GPIO_WritePin(mot_out_GPIO_Port, mot_out_Pin, GPIO_PIN_SET);
	__HAL_TIM_SET_COMPARE(&htim2, TIM_CHANNEL_2, bright[2]);
}
void sleepMode(void) {
	//assume its night and so do nothing, switch off RGB_LED and go in standby mode

	__HAL_TIM_SET_COMPARE(&htim2, TIM_CHANNEL_3, 0);
	__HAL_TIM_SET_COMPARE(&htim2, TIM_CHANNEL_1, 0);
	__HAL_TIM_SET_COMPARE(&htim2, TIM_CHANNEL_2, 0);
	//standbymode
	HAL_RTCEx_DeactivateWakeUpTimer(&hrtc);
	__HAL_PWR_CLEAR_FLAG(PWR_FLAG_WU);
	SysTick->CTRL = 0;
	HAL_RTCEx_SetWakeUpTimer_IT(&hrtc, 0xFFFF, RTC_WAKEUPCLOCK_RTCCLK_DIV16);
	HAL_PWR_EnterSTANDBYMode();
}
void progLdrSwitchValue(void) {
	// to prog LDR_switch value
	// test if sw1 == 1
	uint32_t progMode_ticker = 0;
	uint32_t LDR_ticker = 0;
	if (shift_test_switch_is_ON() == 1) {
		__HAL_TIM_SET_COMPARE(&htim2, TIM_CHANNEL_3, bright[0]); // switch to red led
		LDR_ticker = HAL_GetTick();
		HAL_Delay(600);
		if (shift_test_switch_is_ON() == 1) {
			__HAL_TIM_SET_COMPARE(&htim2, TIM_CHANNEL_3, 0); // switch red led off
			LDR_ticker = HAL_GetTick();
			HAL_Delay(100);
			LDR_Value();
			LDR_ticker = HAL_GetTick();
			//__HAL_TIM_SET_COMPARE(&htim2, TIM_CHANNEL_3, bright[0]); // switch to red led
			//do wait for 240 sec so the user can put switch off to set LDR_switch value
			int waitms = 240000;
			while ((HAL_GetTick() - LDR_ticker) < waitms) {

				__HAL_IWDG_RELOAD_COUNTER(&hiwdg);
				__HAL_TIM_SET_COMPARE(&htim2, TIM_CHANNEL_1, bright[1]); // switch to green led
				HAL_Delay(500);
				__HAL_TIM_SET_COMPARE(&htim2, TIM_CHANNEL_1, 0); // switch green led off
				HAL_Delay(500);
				__HAL_IWDG_RELOAD_COUNTER(&hiwdg);
				if (shift_test_switch_is_ON() == 0) {
					LDR_Value();
					__HAL_TIM_SET_COMPARE(&htim2, TIM_CHANNEL_1, bright[1]); // switch to green led
					//save new Values to eeprom
					piface->ldr_switch = piface->ldr_value;
					RUN_prog_ldr();
					LDR_ticker += waitms;
				}

			}
			__HAL_TIM_SET_COMPARE(&htim2, TIM_CHANNEL_1, 0); // switch green led off
			__HAL_TIM_SET_COMPARE(&htim2, TIM_CHANNEL_3, bright[0]); // switch to red led
			while (1) {
				// run in watchdogtimer time out
			}
		}
	}
}
/**
 * Brief   This function saves the LDR min max and switch values in the eeprom.
 *
 * Param   None
 * Retval  None
 */
void RUN_prog_ldr(void) {
	__HAL_IWDG_RELOAD_COUNTER(&hiwdg);

	error = 0;
	UnlockPELOCK();
	FLASH->PECR |= FLASH_PECR_ERRIE | FLASH_PECR_EOPIE; /* enable flash interrupts */

	*(uint32_t *) (DATA_E2_ADDR + 20) = piface->ldr_min; /* (1) */
	__WFI();
	if (*(uint32_t *) (DATA_E2_ADDR + 20) != piface->ldr_min) {
		error |= ERROR_PROG_32B_WORD;
	}

	*(uint32_t *) (DATA_E2_ADDR + 24) = piface->ldr_max; /* (1) */
	__WFI();
	if (*(uint32_t *) (DATA_E2_ADDR + 24) != piface->ldr_max) {
		error |= ERROR_PROG_32B_WORD;
	}

	*(uint32_t *) (DATA_E2_ADDR + 28) = piface->ldr_switch; /* (1) */
	__WFI();
	if (*(uint32_t *) (DATA_E2_ADDR + 28) != piface->ldr_switch) {
		error |= ERROR_PROG_32B_WORD;
	}

	LockNVM();
}

/**
 * Brief   This function measures the brightness of the ambient light with an LDR.
 *         and calculates the max brightness values of the RGB LED
 * Param   None
 * Retval  None
 */
void LDR_Value(void) {
	uint32_t tg_ADCValue = piface->ldr_value;

// first switch off the LED so we can be sure we measure the daylight

	__HAL_TIM_SET_COMPARE(&htim2, TIM_CHANNEL_3, 0);
	__HAL_TIM_SET_COMPARE(&htim2, TIM_CHANNEL_1, 0);
	__HAL_TIM_SET_COMPARE(&htim2, TIM_CHANNEL_2, 0);
	HAL_Delay(100);	//wait a few ms for LDR is ready

	//measurement LDR
	adc_buf[0] = 0;
	//int tistart=TIM22->CNT;
	HAL_ADC_Start_DMA(&hadc, (uint32_t *) adc_buf, 1);
	HAL_Delay(1);
	do {
		IWDG->KR = IWDG_KEY_RELOAD;
	} while (adc_buf[0] == 0);
	//int tistop=TIM22->CNT;
	//adc_buf[1]=tistop-tistart;ca 59ms
	/* Here      HAL_ADC_Start_DMA takes following arguments
	 ADC_HandleTypeDef* hadc --->   ADC handler
	 uint32_t* pData  --->   The destination Buffer address
	 uint32_t Length  --->  The length of data to be transferred from ADC peripheral to memory.*/
	//HAL_Delay(400);
	// reload old LED global settings of PWM because next steps are too long to wait
	__HAL_TIM_SET_COMPARE(&htim2, TIM_CHANNEL_3, ar);
	__HAL_TIM_SET_COMPARE(&htim2, TIM_CHANNEL_1, ag);
	__HAL_TIM_SET_COMPARE(&htim2, TIM_CHANNEL_2, ab);

	if (tg_ADCValue == 0) {
		tg_ADCValue = adc_buf[0];
	}

	HAL_ADC_Stop_DMA(&hadc);
	//calculate a filter so that ambientlight light distubtions are eliminated
	piface->ldr_value = ((tg_ADCValue * 7) + adc_buf[0]) / 8;
	// this part calculates the brightness according to the ambientlight
	// the darker it is the less the brightness of the LED
	//map(value, fromLow, fromHigh, toLow, toHigh)
	// BUG if toLow is greater then 0 this gives a wrong calculation
	//LDRvalue_min  LDRvalue_max LDR_switch
	if ((piface->ldr_switch > piface->ldr_value)
			&& (piface->ldr_switch - piface->ldr_value) > piface->ldr_min) {
		bright_ad[0] = map2((piface->ldr_switch - piface->ldr_value), piface->ldr_min,
				piface->ldr_switch, 100, bright[0]);
		bright_ad[1] = map2((piface->ldr_switch - piface->ldr_value), piface->ldr_min,
				piface->ldr_switch, 100, bright[1]);
		bright_ad[2] = map2((piface->ldr_switch - piface->ldr_value), piface->ldr_min,
				piface->ldr_switch, 100, bright[2]);
	} else {
		bright_ad[0] = 0;
		bright_ad[1] = 0;
		bright_ad[2] = 0;
	}
	// recalculate LED values
	if (piface->started == 1) {
		LED_RGB_Set(1.0);
	}
	// reload new LED global settings of PWM
	__HAL_TIM_SET_COMPARE(&htim2, TIM_CHANNEL_3, ar);
	__HAL_TIM_SET_COMPARE(&htim2, TIM_CHANNEL_1, ag);
	__HAL_TIM_SET_COMPARE(&htim2, TIM_CHANNEL_2, ab);
}

/**
 * Brief   This function saves all data in the eeprom.
 *
 * Param   None
 * Retval  None
 */
void Save_2_Eeprom(void) {
	//eeprom_value_min
	//eeprom_value_max
	__HAL_IWDG_RELOAD_COUNTER(&hiwdg);
	error = 0;
	UnlockPELOCK();
	FLASH->PECR |= FLASH_PECR_ERRIE | FLASH_PECR_EOPIE; /* enable flash interrupts */

	*(uint32_t *) (DATA_E2_ADDR) = piface->eepromMin; /* (1) */
	__WFI();
	if (*(uint32_t *) (DATA_E2_ADDR) != piface->eepromMin) {
		error |= ERROR_PROG_32B_WORD;
	}

	*(uint32_t *) (DATA_E2_ADDR + 4) = piface->eepromMax; /* (1) */
	__WFI();
	if (*(uint32_t *) (DATA_E2_ADDR + 4) != piface->eepromMax) {
		error |= ERROR_PROG_32B_WORD;
	}

	*(uint32_t *) (DATA_E2_ADDR + 8) = piface->eepromPmax; /* (1) */
	__WFI();
	if (*(uint32_t *) (DATA_E2_ADDR + 8) != piface->eepromPmax) {
		error |= ERROR_PROG_32B_WORD;
	}

	LockNVM();
}

/**
 * Brief   This function reads all data from the eeprom.
 *
 * Param   None
 * Retval  None
 */
void Read_from_Eeprom(void) {
	piface->eepromMin = *(uint32_t *) (DATA_E2_ADDR);
	piface->eepromMax = *(uint32_t *) (DATA_E2_ADDR + 4);
	piface->eepromPmax = *(uint32_t *) (DATA_E2_ADDR + 8);
	//uint32_t *pData = 0x08080000;
	piface->ldr_min = *(uint32_t *) (DATA_E2_ADDR + 20);	//LDRvalue_min
	piface->ldr_max = *(uint32_t *) (DATA_E2_ADDR + 24);	//LDRvalue_max
	piface->ldr_switch = *(uint32_t *) (DATA_E2_ADDR + 28);	//LDR_switch
	//eeprom_value_max=
}

/**
 * Brief   This function handles the LED.
 *         it sets the color according to the long time average of the weight.
 * Param   Brightness float 0.0-1.0
 * Retval  None
 */
void LED_RGB_Set(float HSV_value) {
	volatile uint32_t mittelwert = 0;
	uint32_t mWoverVal =0;
#if defined test_HX712
	//return mittelwert
	mittelwert = TEST_MITTELWERT;
#else
	mittelwert = *pMesswert_long_time_average;
#endif
	__HAL_IWDG_RELOAD_COUNTER(&hiwdg);
	//map(value, fromLow, fromHigh, toLow, toHigh)
	if (mittelwert <= *(uint32_t *) (DATA_E2_ADDR)) {
		hue_angel = 1;
	} else if (mittelwert >= *(uint32_t *) (DATA_E2_ADDR + 4)) {
		//mWoverVal=mittelwert - *(uint32_t *) (DATA_E2_ADDR + 4);
		mWoverVal= map2(mittelwert, *(uint32_t *) (DATA_E2_ADDR +4),
				piface->eepromAbsMax, 0, 60);
		hue_angel = 301+mWoverVal;
	} else {
		hue_angel = map2(mittelwert, *(uint32_t *) (DATA_E2_ADDR),
				*(uint32_t *) (DATA_E2_ADDR + 4), 0, 300);
	}

	if (hue_angel <= 150) {
		ar = map2((150 - hue_angel), 0, 150, 0, bright_ad[0]);
		ag = map2(hue_angel, 0, 150, 0, bright_ad[1]);
		ab = 0;
	} else if (hue_angel <= 300) {
		ar = 0;
		//ag=(map((hue_angel-150),150,300,0,bright[1]))*-1;
		//ag = bright_ad[1] + (map2((300 - hue_angel), 150, 300, 0, bright_ad[1]));
		ag = map2((300 - hue_angel), 0, 300, 0, bright_ad[1]);
		ab = map2(hue_angel, 150, 300, 0, bright_ad[2]);
	} else {
		ar = 800+map2((360 - hue_angel), 0, 360, 0, bright_ad[1]);
		ag = 0;
		ab = bright_ad[2];

	}

	__HAL_TIM_SET_COMPARE(&htim2, TIM_CHANNEL_3, ar);
	__HAL_TIM_SET_COMPARE(&htim2, TIM_CHANNEL_1, ag);
	__HAL_TIM_SET_COMPARE(&htim2, TIM_CHANNEL_2, ab);

}

/**
 * Brief   This function handles a given value and calculates from one range int another
 *
 *         usage; map(value, fromLow, fromHigh, toLow, toHigh)
 * Param   value, fromLow, fromHigh, toLow, toHigh
 * Retval  int
 */
int map(int x, int in_min, int in_max, int out_min, int out_max) {
	return (((x - in_min) * (out_max - out_min)) / (in_max - in_min) + out_min);

}
/**
 * Brief   This function handles a given value and calculates from one range int another
 * 			make sure there is no negative calculation
 *         usage; map(value, fromLow, fromHigh, toLow, toHigh)
 * Param   value, fromLow, fromHigh, toLow, toHigh
 * Retval  uint32_t
 */
uint32_t map2(uint32_t x, uint32_t in_min, uint32_t in_max, uint32_t out_min,
		uint32_t out_max) {
	return (((x - in_min) * (out_max - out_min)) / (in_max - in_min) + out_min);

}
__INLINE void UnlockPELOCK(void)

{

	/* (1) Wait till no operation is on going */

	/* (2) Check if the PELOCK is unlocked */

	/* (3) Perform unlock sequence */

	while ((FLASH->SR & FLASH_SR_BSY) != 0) /* (1) */

	{

		/* For robust implementation, add here time-out management */

	}

	if ((FLASH->PECR & FLASH_PECR_PELOCK) != 0) /* (2) */

	{

		FLASH->PEKEYR = FLASH_PEKEY1; /* (3) */

		FLASH->PEKEYR = FLASH_PEKEY2;

	}

}

/******************************************************************************/

/*                 STM32L0xx Peripherals Interrupt Handlers                   */

/*  Add here the Interrupt Handler for the used peripheral(s) (PPP), for the  */

/*  available peripheral interrupt handler's name please refer to the startup */

/*  file (startup_stm32l0xx.s).                                               */

/******************************************************************************/

/**

 * Brief   This function handles FLASH interrupt request.

 *         It handles any kind of error even if not used in this example.

 * Param   None

 * Retval  None

 */

void FLASH_IRQHandler(void)

{

	if ((FLASH->SR & FLASH_SR_EOP) != 0) /* (3) */

	{

		FLASH->SR = FLASH_SR_EOP; /* (4) */

	}

	/* Manage the error cases */

	else if ((FLASH->SR & FLASH_SR_FWWERR) != 0) /* Check Fetch while Write error */

	{

		error |= ERROR_FETCH_DURING_PROG; /* Report the error to the main progran */

		FLASH->SR = FLASH_SR_FWWERR; /* Clear the flag by software by writing it at 1*/

	}

	else if ((FLASH->SR & FLASH_SR_NOTZEROERR) != 0) /* Check Not Zero error */

	/* This error occurs if the address content was not cleared/erased

	 before the programming */

	{

		error |= ERROR_NOT_ZERO; /* Report the error to the main progran */

		FLASH->SR = FLASH_SR_NOTZEROERR; /* Clear the flag by software by writing it at 1*/

	}

	else if ((FLASH->SR & FLASH_SR_SIZERR) != 0) /* Check Size error */

	{

		error |= ERROR_SIZE; /* Report the error to the main progran */

		FLASH->SR = FLASH_SR_SIZERR; /* Clear the flag by software by writing it at 1*/

	}

	else if ((FLASH->SR & FLASH_SR_WRPERR) != 0) /* Check Write protection error */

	{

		error |= ERROR_WRITE_PROTECTION; /* Report the error to the main progran */

		FLASH->SR = FLASH_SR_WRPERR; /* Clear the flag by software by writing it at 1*/

	}

	else if ((FLASH->SR & FLASH_SR_RDERR) != 0) /* Check Read-out protection error */

	{

		error |= ERROR_READOUT_PROTECTION; /* Report the error to the main progran */

		FLASH->SR = FLASH_SR_RDERR; /* Clear the flag by software by writing it at 1*/

	}

	else if ((FLASH->SR & FLASH_SR_OPTVERR) != 0) /* Check Option valid error */

	{

		error |= ERROR_OPTION_NOT_VALID; /* Report the error to the main progran */

		FLASH->SR = FLASH_SR_OPTVERR; /* Clear the flag by software by writing it at 1*/

	}

	else if ((FLASH->SR & FLASH_SR_PGAERR) != 0) /* Check alignment error */

	{

		error |= ERROR_ALIGNMENT; /* Report the error to the main progran */

		FLASH->SR = FLASH_SR_PGAERR; /* Clear the flag by software by writing it at 1*/

	}

	else

	{

		error |= ERROR_UNKNOWN;

	}

}

/**

 * Brief   This function locks the NVM.

 *         It first checks no flash operation is on going,

 *         then locks the flash.

 * Param   None

 * Retval  None

 */

__INLINE void LockNVM(void)

{

	/* (1) Wait till no operation is on going */

	/* (2) Locks the NVM by setting PELOCK in PECR */

	while ((FLASH->SR & FLASH_SR_BSY) != 0) /* (1) */

	{

		/* For robust implementation, add here time-out management */

	}

	FLASH->PECR |= FLASH_PECR_PELOCK; /* (2) */

}

/**

 * Brief   This function erases a word of data EEPROM.

 *         The ERASE bit and DATA bit are set in PECR at the beginning

 *         and reset at the endof the function. In case of successive erase,

 *         these two operations could be performed outside the function.

 *         The flash interrupts must have been enabled prior to call

 *         this function.

 * Param   addr is the 32-bt word address to erase

 * Retval  None

 */

__INLINE void EepromErase(uint32_t addr)

{

	/* (1) Set the ERASE and DATA bits in the FLASH_PECR register

	 to enable page erasing */

	/* (2) Write a 32-bit word value at the desired address

	 to start the erase sequence */

	/* (3) Enter in wait for interrupt. The EOP check is done in the Flash ISR */

	/* (6) Reset the ERASE and DATA bits in the FLASH_PECR register

	 to disable the page erase */

	FLASH->PECR |= FLASH_PECR_ERASE | FLASH_PECR_DATA; /* (1) */

	*(__IO uint32_t *) addr = (uint32_t) 0; /* (2) */

	__WFI(); /* (3) */

	FLASH->PECR &= ~(FLASH_PECR_ERASE | FLASH_PECR_DATA); /* (4) */

}

/* USER CODE END 4 */

void Error_Handler(void) {
	/* USER CODE BEGIN Error_Handler_Debug */
	/* User can add his own implementation to report the HAL error return state */
	__HAL_TIM_SET_COMPARE(&htim2, TIM_CHANNEL_1, 0);
	__HAL_TIM_SET_COMPARE(&htim2, TIM_CHANNEL_2, 0);
	while (1) {
		uint32_t ERROR_ticker;
		while (1) {
			//  blink red
			//water level low or pump defect
			__HAL_IWDG_RELOAD_COUNTER(&hiwdg);
			__HAL_TIM_SET_COMPARE(&htim2, TIM_CHANNEL_3, bright[0]); // switch to red led
			ERROR_ticker = HAL_GetTick();
			while ((HAL_GetTick() - ERROR_ticker) < 300) {
				//wait 600 ms
			}
			__HAL_TIM_SET_COMPARE(&htim2, TIM_CHANNEL_3, 0); // switch to red led
			ERROR_ticker = HAL_GetTick();
			while ((HAL_GetTick() - ERROR_ticker) < 300) {
				//wait 600 ms
			}
			// keep off from reseting
			//__HAL_IWDG_RELOAD_COUNTER(&hiwdg);
		}
	}
	/* USER CODE END Error_Handler_Debug */
}

/************************ (C) COPYRIGHT STMicroelectronics *****END OF FILE****/
